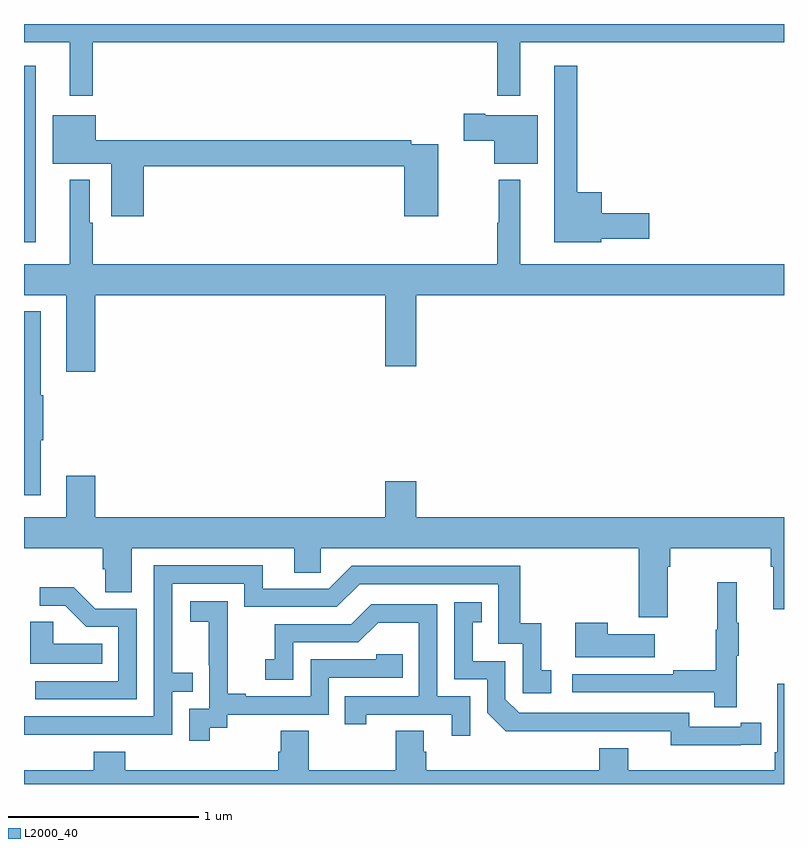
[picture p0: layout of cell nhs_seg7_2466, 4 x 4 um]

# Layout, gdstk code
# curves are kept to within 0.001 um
import gdstk
lib = gdstk.Library(unit=1e-6, precision=1e-09)
def R(c, l, rs):  # rectangles x0, y0, x1, y1
    for r in rs: c.add(gdstk.rectangle(r[:2], r[2:], *l))
def P(c, l, *ps):  # polygons
    for p in ps: c.add(gdstk.Polygon(p, *l))
L2000_40 = (2000, 40)

nhs_seg7_2466 = lib.new_cell('nhs_seg7_2466')
R(nhs_seg7_2466, L2000_40, [(271,1044.851,271.063,1045.78)])
P(nhs_seg7_2466, L2000_40, [(271.363,1045.904),(273.492,1045.904),(273.492,1045.623),(273.613,1045.623),(273.613,1045.904),(275,1045.904),(275,1046),(271,1046),(271,1045.904),(271.241,1045.904),(271.241,1045.623),(271.363,1045.623)],
  [(274.038,1044.869),(274.291,1044.869),(274.291,1045.004),(274.042,1045.004),(274.042,1045.114),(273.913,1045.114),(273.913,1045.78),(273.791,1045.78),(273.791,1044.851),(274.038,1044.851)],
  [(273.703,1045.519),(273.427,1045.519),(273.427,1045.527),(273.315,1045.527),(273.315,1045.385),(273.476,1045.385),(273.476,1045.265),(273.703,1045.265)],
  [(271.631,1045.252),(273.002,1045.252),(273.002,1044.987),(273.18,1044.987),(273.18,1045.368),(273.038,1045.368),(273.038,1045.388),(271.378,1045.388),(271.378,1045.519),(271.151,1045.519),(271.151,1045.265),(271.46,1045.265),(271.46,1044.987),(271.631,1044.987)],
  [(271.376,1044.572),(272.9,1044.572),(272.9,1044.198),(273.064,1044.198),(273.064,1044.572),(275,1044.572),(275,1044.736),(273.613,1044.736),(273.613,1045.18),(273.499,1045.18),(273.499,1044.953),(273.492,1044.953),(273.492,1044.736),(271.363,1044.736),(271.363,1044.953),(271.345,1044.953),(271.345,1045.18),(271.241,1045.18),(271.241,1044.736),(271,1044.736),(271,1044.572),(271.223,1044.572),(271.223,1044.171),(271.376,1044.171)],
  [(271.087,1043.808),(271.1,1043.808),(271.1,1044.045),(271.087,1044.045),(271.087,1044.487),(271,1044.487),(271,1043.52),(271.087,1043.52)],
  [(274.387,1043.144),(274.4,1043.144),(274.4,1043.24),(274.931,1043.24),(274.931,1043.144),(274.943,1043.144),(274.943,1042.92),(275,1042.92),(275,1043.404),(273.064,1043.404),(273.064,1043.593),(272.9,1043.593),(272.9,1043.404),(271.376,1043.404),(271.376,1043.623),(271.223,1043.623),(271.223,1043.404),(271,1043.404),(271,1043.24),(271.415,1043.24),(271.415,1043.131),(271.428,1043.131),(271.428,1043.008),(271.567,1043.008),(271.567,1043.24),(272.423,1043.24),(272.423,1043.113),(272.562,1043.113),(272.562,1043.24),(274.235,1043.24),(274.235,1042.878),(274.387,1042.878)],
  [(271.283,1042.26),(271.779,1042.26),(271.779,1042.485),(271.889,1042.485),(271.889,1042.586),(271.779,1042.586),(271.779,1043.055),(272.16,1043.055),(272.16,1042.932),(272.646,1042.932),(272.766,1043.052),(273.495,1043.052),(273.495,1042.737),(273.624,1042.737),(273.624,1042.478),(273.775,1042.478),(273.775,1042.599),(273.722,1042.599),(273.722,1042.846),(273.611,1042.846),(273.611,1043.148),(272.724,1043.148),(272.604,1043.028),(272.257,1043.028),(272.257,1043.151),(271.683,1043.151),(271.683,1042.356),(271,1042.356),(271,1042.259)],
  [(274.751,1042.675),(274.762,1042.675),(274.762,1042.849),(274.751,1042.849),(274.751,1043.062),(274.648,1043.062),(274.648,1042.812),(274.641,1042.812),(274.641,1042.598),(274.417,1042.598),(274.417,1042.578),(273.885,1042.578),(273.885,1042.482),(274.633,1042.482),(274.633,1042.404),(274.751,1042.404)],
  [(271.593,1042.923),(271.374,1042.923),(271.261,1043.036),(271.083,1043.036),(271.083,1042.938),(271.217,1042.938),(271.328,1042.827),(271.497,1042.827),(271.497,1042.542),(271.059,1042.542),(271.059,1042.446),(271.593,1042.446)],
  [(271.978,1042.297),(272.07,1042.297),(272.07,1042.365),(272.604,1042.365),(272.604,1042.56),(272.993,1042.56),(272.993,1042.683),(272.853,1042.683),(272.853,1042.656),(272.508,1042.656),(272.508,1042.461),(272.167,1042.461),(272.167,1042.474),(272.072,1042.474),(272.072,1042.757),(272.073,1042.757),(272.073,1042.963),(271.875,1042.963),(271.875,1042.853),(271.973,1042.853),(271.973,1042.625),(271.974,1042.625),(271.974,1042.395),(271.869,1042.395),(271.869,1042.227),(271.978,1042.227)],
  [(274.772,1042.206),(274.88,1042.206),(274.88,1042.322),(274.772,1042.322),(274.772,1042.302),(274.5,1042.302),(274.5,1042.374),(273.606,1042.374),(273.534,1042.446),(273.534,1042.647),(273.361,1042.647),(273.361,1042.851),(273.41,1042.851),(273.41,1042.957),(273.264,1042.957),(273.264,1042.551),(273.438,1042.551),(273.438,1042.374),(273.536,1042.277),(274.404,1042.278),(274.404,1042.205)],
  [(273.348,1042.461),(273.174,1042.461),(273.174,1042.947),(272.828,1042.947),(272.723,1042.842),(272.32,1042.842),(272.32,1042.657),(272.271,1042.657),(272.271,1042.548),(272.418,1042.548),(272.418,1042.746),(272.76,1042.746),(272.864,1042.85),(273.078,1042.85),(273.078,1042.461),(272.689,1042.461),(272.689,1042.314),(272.8,1042.314),(272.8,1042.365),(273.251,1042.365),(273.251,1042.254),(273.348,1042.254)],
  [(271.412,1042.738),(271.155,1042.738),(271.155,1042.853),(271.034,1042.853),(271.034,1042.634),(271.412,1042.634)],
  [(274.321,1042.789),(274.073,1042.789),(274.073,1042.849),(273.902,1042.849),(273.902,1042.667),(274.321,1042.667)],
  [(275,1042.528),(274.965,1042.528),(274.965,1042.168),(274.952,1042.168),(274.952,1042.072),(274.18,1042.072),(274.18,1042.189),(274.028,1042.189),(274.028,1042.072),(273.116,1042.072),(273.116,1042.17),(273.103,1042.17),(273.103,1042.28),(272.956,1042.28),(272.956,1042.072),(272.499,1042.072),(272.499,1042.28),(272.351,1042.28),(272.351,1042.17),(272.339,1042.17),(272.339,1042.072),(271.532,1042.072),(271.532,1042.171),(271.367,1042.171),(271.367,1042.072),(271,1042.072),(271,1042),(275,1042)])

lib.write_gds('nhs_seg7_2466.gds')
